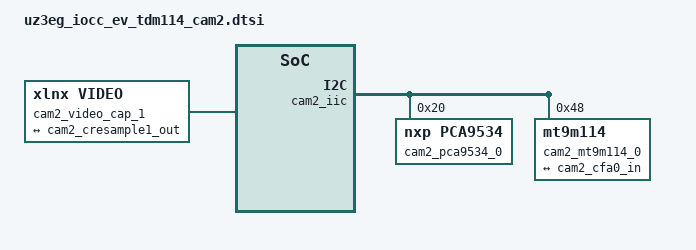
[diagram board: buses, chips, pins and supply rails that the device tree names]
#include <dt-bindings/media/xilinx-vip.h>

&amba_pl {
	cam2_iic: i2c@80200000 {
		#address-cells = <1>;
		#size-cells = <0>;
		compatible = "xlnx,xps-iic-2.00.a";
		interrupt-parent = <&gic>;
		interrupts = <0 92 4>;
		reg = <0x0 0x80200000 0x0 0x10000>;
		clocks = <&axi_lite_clk>;

		cam2_pca9534_0: gpio@20 {
			compatible = "nxp,pca9534";
			reg = <0x20>;
			gpio-controller;
			#gpio-cells = <2>;
		};
	
		cam2_mt9m114_0: mt9m114@48 {
			compatible = "mt9m114";
			reg = <0x48>;
		
			ports {
				#address-cells = <1>;
				#size-cells = <0>;

				port@0 {
					reg = <0>;
					xlnx,video-format = <XVIP_VF_MONO_SENSOR>;
					xlnx,cfa-pattern = "rggb";
					xlnx,video-width = <8>;
					cam2_mt9m114_0_source: endpoint {
						remote-endpoint = <&cam2_cfa0_in>;
					};
				};
			};
		
		
		};
	};

	//TDnext_capture_2_tc_vdma_0: axivdma@80240000 {
	TDnext_capture_2_tc_vdma_0: dma@80240000 {
		compatible = "xlnx,axi-vdma-1.00.a";
		reg = <0x0 0x80240000 0x0 0x10000>;
		xlnx,flush-fsync = <1>;
		xlnx,num-fstores = <1>;
		xlnx,addrwidth = <0x20>;
		#dma-cells = <1>;
		clock-names = "s_axi_lite_aclk", "m_axi_mm2s_aclk", "m_axi_mm2s_aclk", "m_axi_s2mm_aclk", "m_axi_s2mm_aclk";
		clocks = <&axi_lite_clk>, <&axi_stream_clk>, <&axi_stream_clk>, <&axi_stream_clk>, <&axi_stream_clk>;

		dma-s2mmchannel@80240030 {
			compatible = "xlnx,axi-vdma-s2mm-channel";
			interrupt-parent = <&gic>;
			interrupts = <0 90 4>;
			xlnx,datawidth = <0x40>;
		};
	};

	//TDnext_capture_2_tc_v_cfa_0: cfa@80210000 {
	//	compatible = "xlnx,v-cfa-7.0";
	TDnext_capture_2_tc_v_cfa_0: v_cfa@80210000 {
		compatible = "xlnx,v-cfa-7.0";
		reg = <0x0 0x80210000 0x0 0x10000>;
		clocks = <&axi_stream_clk>;

		ports {
			#address-cells = <1>;
			#size-cells = <0>;

			port@0 {
				reg = <0>;
				xlnx,video-format = <XVIP_VF_MONO_SENSOR>;
				xlnx,cfa-pattern = "rggb";
				xlnx,video-width = <8>;

				cam2_cfa0_in: endpoint {
					remote-endpoint = <&cam2_mt9m114_0_source>;
				};
			};
			port@1 {
				reg = <1>;
				xlnx,video-format = <XVIP_VF_RBG>;
				xlnx,video-width = <8>;

				cam2_cfa0_out: endpoint {
					remote-endpoint = <&cam2_rgb2yuv1_in>;
				};
			};
		};
	};

	//TDnext_capture_2_tc_v_rgb2yuv_0: rgb2yuv@80220000 {
		//compatible = "xlnx,v-rgb2yuv-7.1";
	TDnext_capture_2_tc_v_rgb2ycrcb_0: v_rgb2ycrcb@80220000 {
		compatible = "xlnx,v-rgb2ycrcb-7.1";
		reg = <0x0 0x80220000 0x0 0x10000>;
		clocks = <&axi_stream_clk>;

		ports {
			#address-cells = <1>;
			#size-cells = <0>;

			port@0 {
				reg = <0>;
				xlnx,video-format = <XVIP_VF_RBG>;
				xlnx,video-width = <8>;

				cam2_rgb2yuv1_in: endpoint {
					remote-endpoint = <&cam2_cfa0_out>;
				};
			};
			port@1 {
				reg = <1>;
				xlnx,video-format = <XVIP_VF_YUV_444>;
				xlnx,video-width = <8>;

				cam2_rgb2yuv1_out: endpoint {
					remote-endpoint = <&cam2_cresample1_in>;
				};
			};
		};
	};

	//TDnext_capture_2_tc_cresample_0: cresample@80230000 {
	TDnext_capture_2_tc_v_cresample_0: v_cresample@80230000 {
		compatible = "xlnx,v-cresample-4.0";
		reg = <0x0 0x80230000 0x0 0x10000>;
		clocks = <&axi_stream_clk>;

		ports {
			#address-cells = <1>;
			#size-cells = <0>;

			port@0 {
				reg = <0>;
				xlnx,video-format = <XVIP_VF_YUV_444>;
				xlnx,video-width = <8>;

				cam2_cresample1_in: endpoint {
					remote-endpoint = <&cam2_rgb2yuv1_out>;
				};
			};
			port@1 {
				reg = <1>;
				xlnx,video-format = <XVIP_VF_YUV_422>;
				xlnx,video-width = <8>;

				cam2_cresample1_out: endpoint {
					remote-endpoint = <&cam2_vcap1_sink>;
				};
			};
		};
	};

	cam2_video_cap_1 {
		compatible = "xlnx,video";
		dmas = <&TDnext_capture_2_tc_vdma_0 0>;
		dma-names = "port0";

		ports {
			#address-cells = <1>;
			#size-cells = <0>;

			port@0 {
				reg = <0>;
				direction = "input";
				vpipe-names = "mt9m114";
				cam2_vcap1_sink: endpoint {
					remote-endpoint = <&cam2_cresample1_out>;
				};
			};
		};
	};
};









